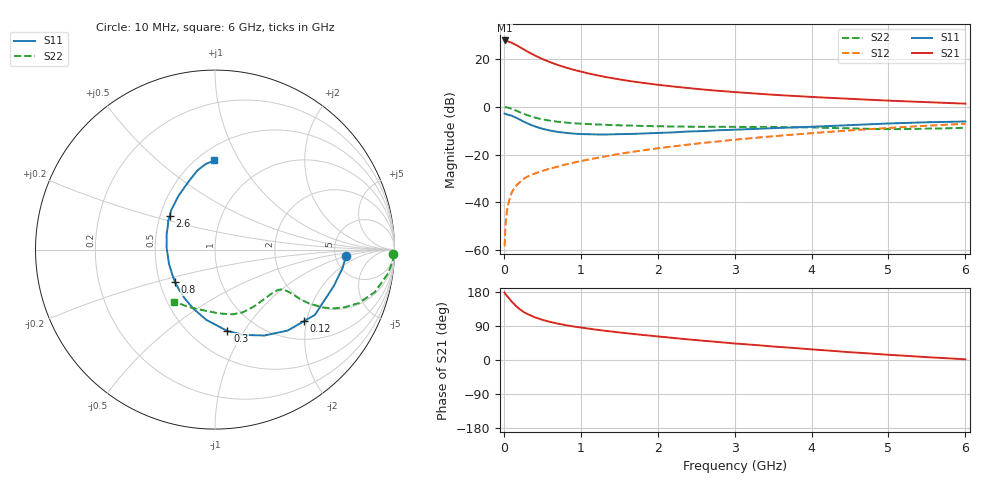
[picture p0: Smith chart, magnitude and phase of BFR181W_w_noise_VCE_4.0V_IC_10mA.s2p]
! (c) 2017  Infineon Technologies AG, Munich
! Infineon Technologies  Discrete & RF Semiconductors
! BFR181W
! VCE =  4.0 V,  IC =  10 mA
! Common Emitter S-Parameters:  Jan 2017
# GHz  S  MA  R  50
!  f  S11  S21  S12  S22
! GHz  MAG  ANG  MAG  ANG  MAG  ANG  MAG  ANG
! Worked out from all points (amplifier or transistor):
!   77 points, 10 MHz to 6 GHz, reference 50 ohm
!   highest |S21| = 27.9 dB at 10 MHz (marker M1)
!   |S21| within 3 dB of that: start of sweep to 218.1 MHz
!   unconditionally stable (mu >= 1): 976.5 MHz to 2.933 GHz
!   at 130 MHz: K = 0.27, MSG = 30.4 dB, |S12| = -34.3 dB
!   at 2.2 GHz: K = 1.05, MAG = 11.2 dB, |S12| = -16.5 dB
!   at 6 GHz: K = 0.85, MSG = 4.2 dB, |S12| = -7.0 dB
!   lowest NFmin = 1.24 dB at 450 MHz
!   S11 on the Smith chart (normalised r, x): 10 MHz: 6.31, -0.90; 120 MHz: 1.44, -1.93; 300 MHz: 0.74, -0.85; 800 MHz: 0.60, -0.24; 2.6 GHz: 0.56, +0.23; 6 GHz: 0.60, +0.79
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0.01  0.7314 -2.6  24.97 177.9  0.0012 91.4  0.9926 -1.4
0.02  0.7182 -8.2  24.81 174.4  0.003 91.2  0.9948 -3.0
0.05  0.6927 -16.9  24.05 166.8  0.0081 82.1  0.9732 -7.9
0.1  0.6651 -33.1  22.48 154.5  0.0156 75.1  0.9215 -14.9
0.12  0.6364 -38.8  21.6 150.6  0.018 72.8  0.894 -17.0
0.15  0.6062 -48.1  20.49 144.1  0.0216 70.4  0.8551 -20.4
0.2  0.552 -60.1  18.38 135.0  0.0257 66.8  0.7885 -24.1
0.25  0.5017 -71.4  16.51 127.7  0.0306 63.4  0.7305 -26.7
0.3  0.4588 -81.3  14.8 121.8  0.0342 61.9  0.6786 -28.3
0.4  0.3946 -97.0  12.17 112.7  0.04 61.1  0.6031 -29.8
0.5  0.3503 -110.2  10.2 106.0  0.0456 61.1  0.5516 -30.2
0.6  0.3209 -121.4  8.763 100.6  0.0511 61.8  0.5166 -30.0
0.7  0.3009 -131.4  7.649 96.1  0.056 63.2  0.4913 -29.9
0.8  0.2877 -140.7  6.799 92.1  0.0622 64.6  0.4727 -29.9
1.1  0.2687 -161.7  5.077 82.9  0.0791 66.2  0.4386 -30.5
1.5  0.2698 177.9  3.808 72.8  0.1034 67.3  0.4133 -33.5
2.1  0.2893 156.5  2.814 60.3  0.1425 66.9  0.3928 -41.6
2.6  0.3132 143.5  2.326 50.7  0.1769 65.2  0.3852 -50.3
3.1  0.339 132.3  2.008 42.2  0.2131 62.7  0.3822 -59.1
4.1  0.3912 114.8  1.599 26.6  0.2902 56.1  0.3689 -77.2
5.1  0.457 101.2  1.342 12.6  0.3717 47.7  0.3441 -102.9
6  0.497 90.6  1.178 1.8  0.4454 39.0  0.3676 -127.9
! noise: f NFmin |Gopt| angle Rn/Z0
0.45  1.24  0.15  16  0.21
0.9  1.29  0.14  31  0.21
1.9  1.71  0.03  142  0.2
2.4  1.88  0.02  -166  0.24
